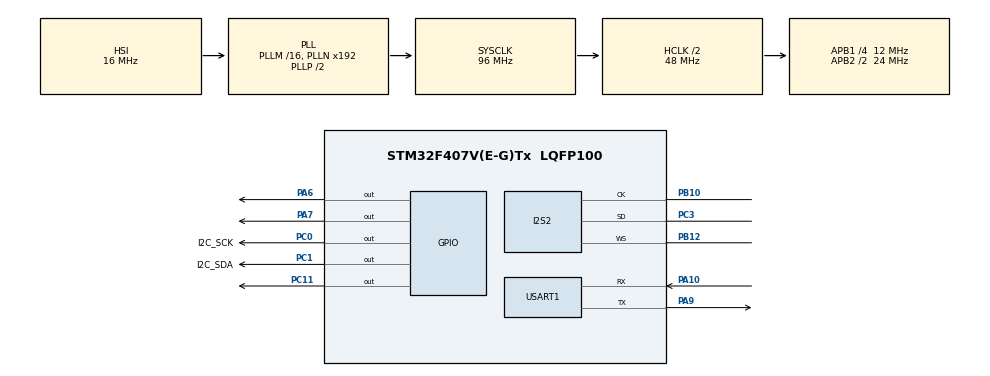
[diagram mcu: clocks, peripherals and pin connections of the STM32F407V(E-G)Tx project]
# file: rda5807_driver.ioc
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I2S2.AudioFreq=I2S_AUDIOFREQ_96K
I2S2.DataFormat=I2S_DATAFORMAT_16B
I2S2.ErrorAudioFreq=0.8 %
I2S2.FullDuplexMode=I2S_FULLDUPLEXMODE_DISABLE
I2S2.Instance=SPI$Index
I2S2.RealAudioFreq=96.774 KHz
I2S2.VirtualMode=I2S_MODE_MASTER
Mcu.Family=STM32F4
Mcu.Name=STM32F407V(E-G)Tx
Mcu.Package=LQFP100
NVIC.PriorityGroup=NVIC_PRIORITYGROUP_4
NVIC.USART1_IRQn=true\:0\:0\:false\:false\:true\:true\:true\:true
PA10.Mode=Asynchronous
PA10.Signal=USART1_RX
PA6.Signal=GPIO_Output
PA7.Signal=GPIO_Output
PA9.Mode=Asynchronous
PA9.Signal=USART1_TX
PB10.Mode=Half_Duplex_Master
PB10.Signal=I2S2_CK
PB12.Mode=Half_Duplex_Master
PB12.Signal=I2S2_WS
PC0.GPIO_Label=I2C_SCK
PC0.GPIO_ModeDefaultOutputPP=GPIO_MODE_OUTPUT_OD
PC0.GPIO_PuPd=GPIO_PULLUP
PC0.GPIO_Speed=GPIO_SPEED_FREQ_VERY_HIGH
PC0.PinState=GPIO_PIN_SET
PC0.Signal=GPIO_Output
PC1.GPIO_Label=I2C_SDA
PC1.GPIO_ModeDefaultOutputPP=GPIO_MODE_OUTPUT_OD
PC1.GPIO_PuPd=GPIO_PULLUP
PC1.GPIO_Speed=GPIO_SPEED_FREQ_VERY_HIGH
PC1.PinState=GPIO_PIN_SET
PC1.Signal=GPIO_Output
PC11.Signal=GPIO_Output
PC14-OSC32_IN.Mode=LSE-External-Clock-Source
PC14-OSC32_IN.Signal=RCC_OSC32_IN
PC15-OSC32_OUT.Mode=LSE-External-Clock-Source
PC15-OSC32_OUT.Signal=RCC_OSC32_OUT
PC3.Mode=Half_Duplex_Master
PC3.Signal=I2S2_SD
PH0-OSC_IN.Mode=HSE-External-Clock-Source
PH0-OSC_IN.Signal=RCC_OSC_IN
PH1-OSC_OUT.Mode=HSE-External-Clock-Source
PH1-OSC_OUT.Signal=RCC_OSC_OUT
ProjectManager.HeapSize=0x200
ProjectManager.StackSize=0x400
ProjectManager.TargetToolchain=MDK-ARM V5
RCC.48MHZClocksFreq_Value=48000000
RCC.AHBCLKDivider=RCC_SYSCLK_DIV2
RCC.AHBFreq_Value=48000000
RCC.APB1CLKDivider=RCC_HCLK_DIV4
RCC.APB1Freq_Value=12000000
RCC.APB1TimFreq_Value=24000000
RCC.APB2CLKDivider=RCC_HCLK_DIV2
RCC.APB2Freq_Value=24000000
RCC.APB2TimFreq_Value=48000000
RCC.CortexFreq_Value=48000000
RCC.HCLKFreq_Value=48000000
RCC.HSE_VALUE=8000000
RCC.HSI_VALUE=16000000
RCC.LSE_VALUE=32768
RCC.SYSCLKFreq_VALUE=96000000
RCC.SYSCLKSource=RCC_SYSCLKSOURCE_PLLCLK
RCC.VCOOutputFreq_Value=192000000
USART1.VirtualMode=VM_ASYNC
board=custom

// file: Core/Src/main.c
/* USER CODE BEGIN Header */
/**
 ******************************************************************************
 * @file           : main.c
 * @brief          : Main program body
 ******************************************************************************
 * @attention
 *
 * Copyright (c) 2025 STMicroelectronics.
 * All rights reserved.
 *
 * This software is licensed under terms that can be found in the LICENSE file
 * in the root directory of this software component.
 * If no LICENSE file comes with this software, it is provided AS-IS.
 *
 ******************************************************************************
 */
/* USER CODE END Header */
#include "main.h"

/* USER CODE BEGIN Includes */
#include <stdio.h>
/* USER CODE END Includes */

I2S_HandleTypeDef hi2s2;

UART_HandleTypeDef huart1;

void SystemClock_Config(void);
static void MX_GPIO_Init(void);
static void MX_I2S2_Init(void);
static void MX_USART1_UART_Init(void);

/* USER CODE BEGIN 0 */
// int fputc(int ch, FILE *file);
/* USER CODE END 0 */

int main(void)
{

  /* MCU Configuration--------------------------------------------------------*/

  /* Reset of all peripherals, Initializes the Flash interface and the Systick. */
  HAL_Init();

  /* Configure the system clock */
  SystemClock_Config();

  /* Initialize all configured peripherals */
  MX_GPIO_Init();
  MX_I2S2_Init();
  MX_USART1_UART_Init();
  /* USER CODE BEGIN 2 */
  // 初始化软件I2C
  Soft_I2C_Init();

  uint8_t control[4] = {0xE3,0x05,0x00,0x00};

  // 测试printf功能
  // printf("System initialized successfully!\r\n");
  // printf("STM32F407 RDA5807 Driver Starting...\r\n");
  HAL_GPIO_WritePin(GPIOA, GPIO_PIN_6, GPIO_PIN_SET); // Set PA6 high to indicate system is ready

  Soft_I2C_Start();
  Soft_I2C_Send_Byte(0x10 << 1);
  Soft_I2C_Wait_Ack();
  Soft_I2C_Send_Byte(control[0]);
  Soft_I2C_Wait_Ack();
  Soft_I2C_Send_Byte(control[1]);
  Soft_I2C_Wait_Ack();
  Soft_I2C_Send_Byte(control[2]);
  Soft_I2C_Wait_Ack();
  Soft_I2C_Send_Byte(control[3]);
  Soft_I2C_Wait_Ack();
  Soft_I2C_Stop();
  HAL_Delay(100);
  /* USER CODE END 2 */

  /* Infinite loop */
  /* USER CODE BEGIN WHILE */
  uint8_t data[2] = {0};

  while (1)
  {
    /* USER CODE END WHILE */

    /* USER CODE BEGIN 3 */
    Soft_I2C_Start();
    Soft_I2C_Send_Byte((0x10 << 1) + 1);
    Soft_I2C_Wait_Ack();
    data[0] = Soft_I2C_Read_Byte();
    Soft_I2C_Ack(); // 发送ACK
    data[1] = Soft_I2C_Read_Byte();
    Soft_I2C_NAck(); // 发送NACK
    Soft_I2C_Stop();

    printf("0x%x,0x%x\n", data[0], data[1]);

    HAL_Delay(100); // 延时1秒
  }
  /* USER CODE END 3 */
}

void SystemClock_Config(void)
{
  RCC_OscInitTypeDef RCC_OscInitStruct = {0};
  RCC_ClkInitTypeDef RCC_ClkInitStruct = {0};

  /** Configure the main internal regulator output voltage
   */
  __HAL_RCC_PWR_CLK_ENABLE();
  __HAL_PWR_VOLTAGESCALING_CONFIG(PWR_REGULATOR_VOLTAGE_SCALE1);

  /** Initializes the RCC Oscillators according to the specified parameters
   * in the RCC_OscInitTypeDef structure.
   */
  RCC_OscInitStruct.OscillatorType = RCC_OSCILLATORTYPE_HSI;
  RCC_OscInitStruct.HSIState = RCC_HSI_ON;
  RCC_OscInitStruct.HSICalibrationValue = RCC_HSICALIBRATION_DEFAULT;
  RCC_OscInitStruct.PLL.PLLState = RCC_PLL_ON;
  RCC_OscInitStruct.PLL.PLLSource = RCC_PLLSOURCE_HSI;
  RCC_OscInitStruct.PLL.PLLM = 16;
  RCC_OscInitStruct.PLL.PLLN = 192;
  RCC_OscInitStruct.PLL.PLLP = RCC_PLLP_DIV2;
  RCC_OscInitStruct.PLL.PLLQ = 4;
  if (HAL_RCC_OscConfig(&RCC_OscInitStruct) != HAL_OK)
  {
    Error_Handler();
  }

  /** Initializes the CPU, AHB and APB buses clocks
   */
  RCC_ClkInitStruct.ClockType = RCC_CLOCKTYPE_HCLK | RCC_CLOCKTYPE_SYSCLK | RCC_CLOCKTYPE_PCLK1 | RCC_CLOCKTYPE_PCLK2;
  RCC_ClkInitStruct.SYSCLKSource = RCC_SYSCLKSOURCE_PLLCLK;
  RCC_ClkInitStruct.AHBCLKDivider = RCC_SYSCLK_DIV2;
  RCC_ClkInitStruct.APB1CLKDivider = RCC_HCLK_DIV4;
  RCC_ClkInitStruct.APB2CLKDivider = RCC_HCLK_DIV2;

  if (HAL_RCC_ClockConfig(&RCC_ClkInitStruct, FLASH_LATENCY_1) != HAL_OK)
  {
    Error_Handler();
  }
}

static void MX_I2S2_Init(void)
{

  hi2s2.Instance = SPI2;
  hi2s2.Init.Mode = I2S_MODE_MASTER_TX;
  hi2s2.Init.Standard = I2S_STANDARD_PHILIPS;
  hi2s2.Init.DataFormat = I2S_DATAFORMAT_16B;
  hi2s2.Init.MCLKOutput = I2S_MCLKOUTPUT_DISABLE;
  hi2s2.Init.AudioFreq = I2S_AUDIOFREQ_96K;
  hi2s2.Init.CPOL = I2S_CPOL_LOW;
  hi2s2.Init.ClockSource = I2S_CLOCK_PLL;
  hi2s2.Init.FullDuplexMode = I2S_FULLDUPLEXMODE_DISABLE;
  if (HAL_I2S_Init(&hi2s2) != HAL_OK)
  {
    Error_Handler();
  }
}

static void MX_USART1_UART_Init(void)
{

  huart1.Instance = USART1;
  huart1.Init.BaudRate = 115200;
  huart1.Init.WordLength = UART_WORDLENGTH_8B;
  huart1.Init.StopBits = UART_STOPBITS_1;
  huart1.Init.Parity = UART_PARITY_NONE;
  huart1.Init.Mode = UART_MODE_TX_RX;
  huart1.Init.HwFlowCtl = UART_HWCONTROL_NONE;
  huart1.Init.OverSampling = UART_OVERSAMPLING_16;
  if (HAL_UART_Init(&huart1) != HAL_OK)
  {
    Error_Handler();
  }
}

static void MX_GPIO_Init(void)
{
  GPIO_InitTypeDef GPIO_InitStruct = {0};

  /* GPIO Ports Clock Enable */
  __HAL_RCC_GPIOC_CLK_ENABLE();
  __HAL_RCC_GPIOH_CLK_ENABLE();
  __HAL_RCC_GPIOA_CLK_ENABLE();
  __HAL_RCC_GPIOB_CLK_ENABLE();

  /*Configure GPIO pin Output Level */
  HAL_GPIO_WritePin(GPIOC, I2C_SCK_Pin | I2C_SDA_Pin, GPIO_PIN_SET);

  /*Configure GPIO pin Output Level */
  HAL_GPIO_WritePin(GPIOA, GPIO_PIN_6 | GPIO_PIN_7, GPIO_PIN_RESET);

  /*Configure GPIO pin Output Level */
  HAL_GPIO_WritePin(GPIOC, GPIO_PIN_11, GPIO_PIN_RESET);

  /*Configure GPIO pins : I2C_SCK_Pin I2C_SDA_Pin */
  GPIO_InitStruct.Pin = I2C_SCK_Pin | I2C_SDA_Pin;
  GPIO_InitStruct.Mode = GPIO_MODE_OUTPUT_OD;
  GPIO_InitStruct.Pull = GPIO_PULLUP;
  GPIO_InitStruct.Speed = GPIO_SPEED_FREQ_VERY_HIGH;
  HAL_GPIO_Init(GPIOC, &GPIO_InitStruct);

  /*Configure GPIO pins : PA6 PA7 */
  GPIO_InitStruct.Pin = GPIO_PIN_6 | GPIO_PIN_7;
  GPIO_InitStruct.Mode = GPIO_MODE_OUTPUT_PP;
  GPIO_InitStruct.Pull = GPIO_NOPULL;
  GPIO_InitStruct.Speed = GPIO_SPEED_FREQ_LOW;
  HAL_GPIO_Init(GPIOA, &GPIO_InitStruct);

  /*Configure GPIO pin : PC11 */
  GPIO_InitStruct.Pin = GPIO_PIN_11;
  GPIO_InitStruct.Mode = GPIO_MODE_OUTPUT_PP;
  GPIO_InitStruct.Pull = GPIO_NOPULL;
  GPIO_InitStruct.Speed = GPIO_SPEED_FREQ_LOW;
  HAL_GPIO_Init(GPIOC, &GPIO_InitStruct);

}

/* USER CODE BEGIN 4 */

/**
 * @brief  重定向printf到UART4
 * @param  ch: 要输出的字符
 * @param  file: 文件指针
 * @retval 输出的字�?????
 */
int fputc(int ch, FILE *file)
{
  HAL_UART_Transmit(&huart1, (uint8_t *)&ch, 1, 0xFFFF);
  return ch;
}

/**
 * @brief  重定向scanf从UART4
 * @param  file: 文件指针
 * @retval 接收的字�?????
 */
int fgetc(FILE *file)
{
  uint8_t ch = 0;
  HAL_UART_Receive(&huart1, &ch, 1, 0xFFFF);
  return ch;
}

/* USER CODE END 4 */

void Error_Handler(void)
{
  __disable_irq();
  while (1)
  {
  }
}
